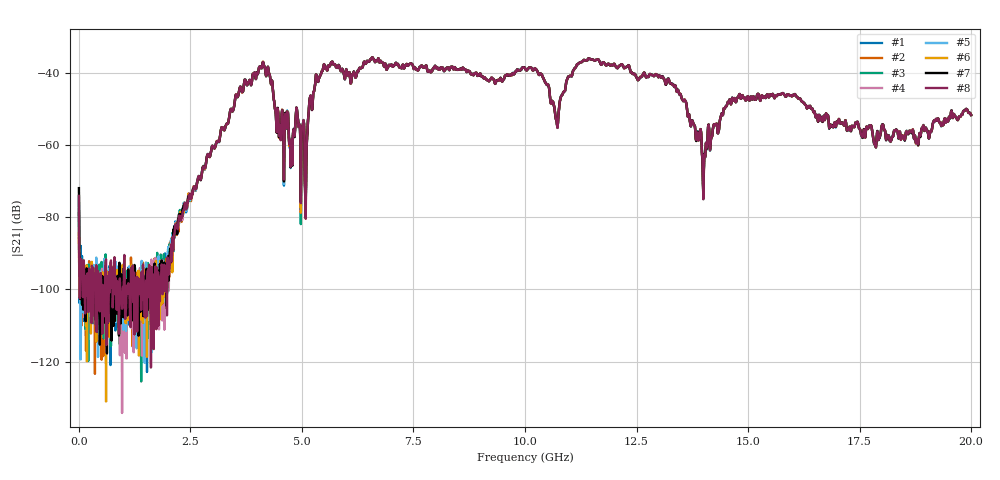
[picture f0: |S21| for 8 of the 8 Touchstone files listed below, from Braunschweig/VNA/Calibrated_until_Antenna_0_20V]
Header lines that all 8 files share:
#  HZ  S  RI  R  50.00
! Rohde & Schwarz Vector Network Analyzer
! Rohde-Schwarz,ZNB20-2Port,1311601062102128,3.60
! freq[Hz]  re:S11  im:S11  re:S21  im:S21  re:S12  im:S12  re:S22  im:S22
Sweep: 100 kHz to 20 GHz
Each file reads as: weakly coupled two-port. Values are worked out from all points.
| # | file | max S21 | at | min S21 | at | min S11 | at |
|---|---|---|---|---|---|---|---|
| 1 | noDUT_1.s2p | -35.82 dB | 6.58 GHz | -122.9 dB | 1.526 GHz | -44.3 dB | 10.94 GHz |
| 2 | noDUT_2.s2p | -35.79 dB | 6.58 GHz | -123.4 dB | 359 MHz | -44.4 dB | 10.94 GHz |
| 3 | noDUT_3.s2p | -35.81 dB | 6.58 GHz | -125.5 dB | 1.396 GHz | -44.4 dB | 10.94 GHz |
| 4 | noDUT_4.s2p | -35.76 dB | 6.58 GHz | -134.2 dB | 967.2 MHz | -44.3 dB | 10.94 GHz |
| 5 | noDUT_5.s2p | -35.76 dB | 6.58 GHz | -120.4 dB | 1.476 GHz | -44.4 dB | 10.94 GHz |
| 6 | noDUT_6.s2p | -35.79 dB | 6.58 GHz | -131.1 dB | 608.3 MHz | -44.2 dB | 10.94 GHz |
| 7 | noDUT_7.s2p | -35.79 dB | 6.58 GHz | -117.8 dB | 628.2 MHz | -44.2 dB | 10.94 GHz |
| 8 | noDUT_8.s2p | -35.78 dB | 6.58 GHz | -121.7 dB | 1.615 GHz | -44.4 dB | 10.94 GHz |
